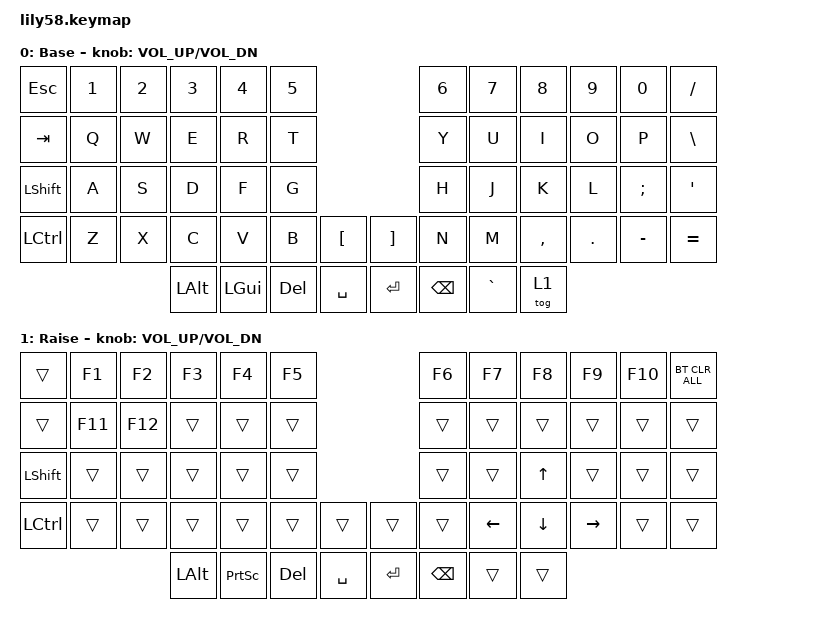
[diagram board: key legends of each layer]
/*
 * Copyright (c) 2020 The ZMK Contributors
 *
 * SPDX-License-Identifier: MIT
 */

#include <behaviors.dtsi>
#include <dt-bindings/zmk/bt.h>
#include <dt-bindings/zmk/keys.h>

/ {
    keymap {
        compatible = "zmk,keymap";

        default_layer {
            // ------------------------------------------------------------------------------------------------------------
            // |  ESC  |  1  |  2  |  3   |  4   |  5   |                   |  6   |  7    |  8    |  9   |   0   |   `   |
            // |  TAB  |  Q  |  W  |  E   |  R   |  T   |                   |  Y   |  U    |  I    |  O   |   P   |   -   |
            // |  CTRL |  A  |  S  |  D   |  F   |  G   |                   |  H   |  J    |  K    |  L   |   ;   |   '   |
            // | SHIFT |  Z  |  X  |  C   |  V   |  B   |   "["  |  |  "]"  |  N   |  M    |  ,    |  .   |   /   | SHIFT |
            //                     | ALT  | GUI  | LOWER|  SPACE |  | ENTER | RAISE| BSPC  | GUI   |

            display-name = "Base";
            bindings = <
&kp ESC     &kp N1  &kp N2  &kp N3    &kp N4    &kp N5                          &kp N6         &kp N7     &kp N8     &kp N9   &kp N0     &kp SLASH
&kp TAB     &kp Q   &kp W   &kp E     &kp R     &kp T                           &kp Y          &kp U      &kp I      &kp O    &kp P      &kp BACKSLASH
&kp LSHIFT  &kp A   &kp S   &kp D     &kp F     &kp G                           &kp H          &kp J      &kp K      &kp L    &kp SEMI   &kp SQT
&kp LCTRL   &kp Z   &kp X   &kp C     &kp V     &kp B    &kp LBKT     &kp RBKT  &kp N          &kp M      &kp COMMA  &kp DOT  &kp MINUS  &kp EQUAL
                            &kp LALT  &kp LGUI  &kp DEL  &kp SPACE    &kp RET   &kp BACKSPACE  &kp GRAVE  &tog 1
            >;

            sensor-bindings = <&inc_dec_kp C_VOL_UP C_VOL_DN>;
        };

        functions_layer {
            // ------------------------------------------------------------------------------------------------------------
            // |       |     |     |      |      |      |                   |      |       |       |      |       |       |
            // |   `   |  1  |  2  |  3   |  4   |  5   |                   |  6   |   7   |   8   |  9   |   0   |       |
            // |   F1  |  F2 |  F3 |  F4  |  F5  |  F6  |                   |      |   <-  |   v   |  ^   |  ->   |       |
            // |   F7  |  F8 |  F9 |  F10 |  F11 |  F12 |        |  |       |  +   |   -   |   =   |  [   |   ]   |   \   |
            //                     |      |      |      |        |  |       |      |       |       |

            display-name = "Raise";
            bindings = <
&trans          &kp F1   &kp F2   &kp F3        &kp F4           &kp F5                              &kp F6         &kp F7    &kp F8    &kp F9     &kp F10  &bt BT_CLR_ALL
&trans          &kp F11  &kp F12  &trans        &trans           &trans                              &trans         &trans    &trans    &trans     &trans   &trans
&kp LEFT_SHIFT  &trans   &trans   &trans        &trans           &trans                              &trans         &trans    &kp UP    &trans     &trans   &trans
&kp LCTRL       &trans   &trans   &trans        &trans           &trans      &trans       &trans     &trans         &kp LEFT  &kp DOWN  &kp RIGHT  &trans   &trans
                                  &kp LEFT_ALT  &kp PRINTSCREEN  &kp DELETE  &kp SPACE    &kp ENTER  &kp BACKSPACE  &trans    &trans
            >;

            sensor-bindings = <&inc_dec_kp C_VOL_UP C_VOL_DN>;
        };
    };
};
